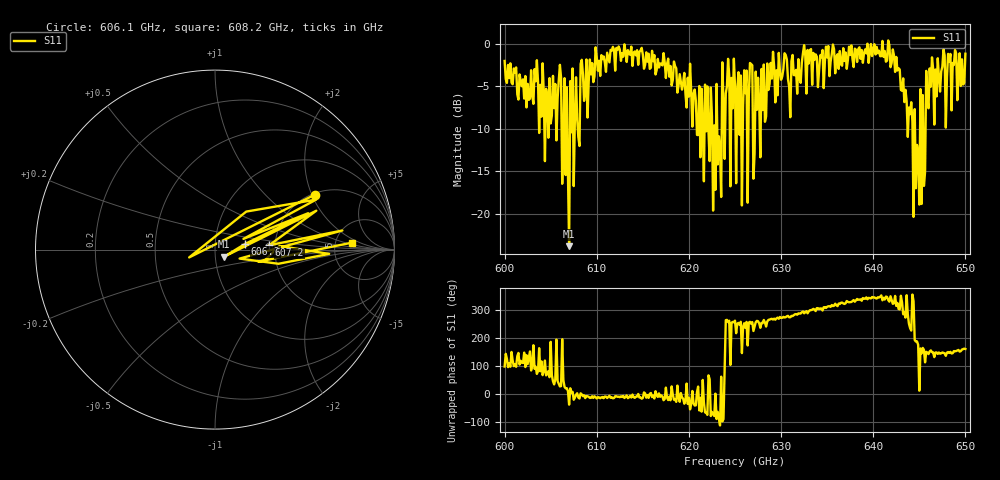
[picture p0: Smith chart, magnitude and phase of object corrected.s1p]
!Created with skrf (http://scikit-rf.org).
# GHz S MA R 50.0
!freq magS11 angS11
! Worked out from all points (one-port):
!   401 points, 600 GHz to 650 GHz, reference 50 ohm
!   lowest |S11| = -23.8 dB at 607 GHz (marker M1), VSWR 1.14, Z = 55.2 - j4.37 ohm
!   |S11| at or under -10 dB: 606.1856 GHz to 606.3964 GHz (210.9 MHz wide, 0.0348 % of centre); 623.0699 GHz to 623.5632 GHz (493.2 MHz wide, 0.0791 % of centre); 644.5313 GHz to 645.0819 GHz (550.6 MHz wide, 0.0854 % of centre) (the widest 3 of 31)
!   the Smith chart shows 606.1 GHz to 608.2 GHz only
!   S11 on the Smith chart (normalised r, x): 606.1 GHz: 2.05, +2.11; 606.9 GHz: 1.40, +0.09; 607.2 GHz: 1.86, +0.10; 608.2 GHz: 7.21, +1.34
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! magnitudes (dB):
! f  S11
! 600 GHz  -2.0
! 606.1 GHz  -3.9
! 606.2 GHz  -16.5
! 606.9 GHz  -15.4
! 607 GHz  -23.8
! 607.2 GHz  -10.4
! 607.4 GHz  -2.9
! 607.8 GHz  -3.9
! 608.2 GHz  -2.3
! 612.5 GHz  -0.7
! 618.8 GHz  -5.7
! 621.4 GHz  -5.3
! 622.2 GHz  -13.8
! 622.9 GHz  -17.2
! 624.1 GHz  -5.0
! 625 GHz  -5.0
! 625.8 GHz  -19.0
! 626.8 GHz  -2.4
! 627.2 GHz  -3.3
! 629 GHz  -4.1
! 631.2 GHz  -1.3
! 637.5 GHz  -1.3
! 641.9 GHz  -2.7
! 643.8 GHz  -10.9
! 644.6 GHz  -17.0
! 645.5 GHz  -16.7
! 646.2 GHz  -5.0
! 650 GHz  -1.2
